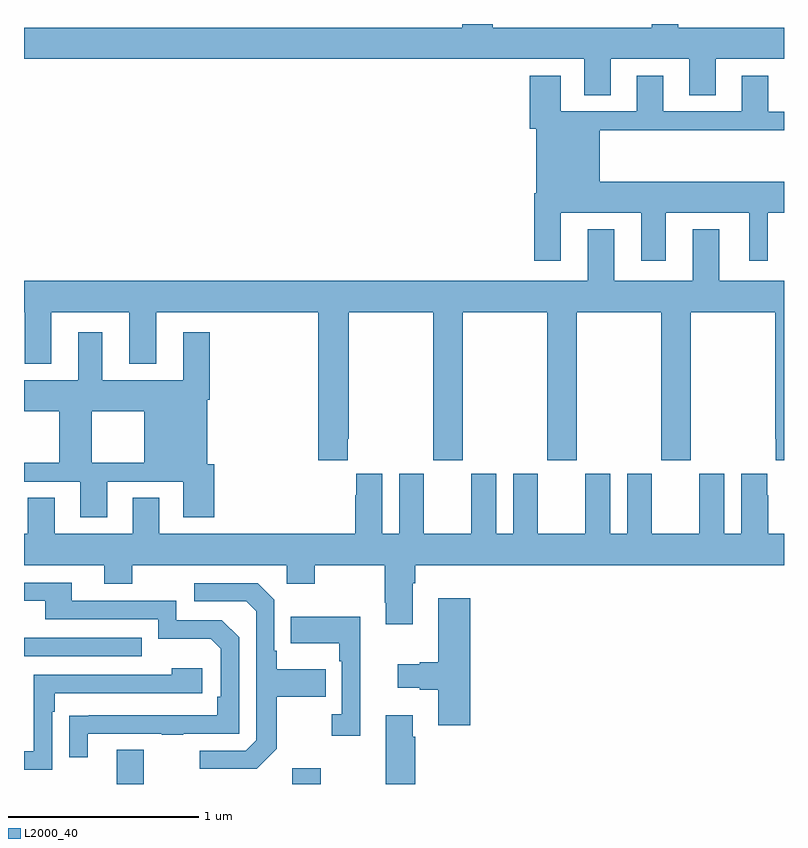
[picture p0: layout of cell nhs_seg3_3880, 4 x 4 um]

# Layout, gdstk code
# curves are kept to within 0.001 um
import gdstk
lib = gdstk.Library(unit=1e-6, precision=1e-09)
def R(c, l, rs):  # rectangles x0, y0, x1, y1
    for r in rs: c.add(gdstk.rectangle(r[:2], r[2:], *l))
def P(c, l, *ps):  # polygons
    for p in ps: c.add(gdstk.Polygon(p, *l))
L2000_40 = (2000, 40)

nhs_seg3_3880 = lib.new_cell('nhs_seg3_3880')
R(nhs_seg3_3880, L2000_40, [(311.489,730.4,311.629,730.579), (312.413,730.4,312.561,730.483), (311,731.073,311.621,731.169)])
P(nhs_seg3_3880, L2000_40, [(314.089,734.216),(314.501,734.216),(314.501,734.026),(314.641,734.026),(314.641,734.216),(315,734.216),(315,734.38),(314.443,734.38),(314.443,734.4),(314.303,734.4),(314.303,734.38),(313.467,734.38),(313.467,734.4),(313.307,734.4),(313.307,734.38),(311,734.38),(311,734.216),(313.949,734.216),(313.949,734.026),(314.089,734.026)],
  [(313.825,733.406),(314.249,733.406),(314.249,733.155),(314.377,733.155),(314.377,733.406),(314.816,733.406),(314.816,733.155),(314.914,733.155),(314.914,733.406),(315,733.406),(315,733.57),(314.029,733.57),(314.029,733.84),(315,733.84),(315,733.938),(314.917,733.938),(314.917,734.128),(314.777,734.128),(314.777,733.941),(314.365,733.941),(314.365,734.128),(314.225,734.128),(314.225,733.941),(313.825,733.941),(313.825,734.128),(313.661,734.128),(313.661,733.848),(313.697,733.848),(313.697,733.51),(313.685,733.51),(313.685,733.155),(313.825,733.155)],
  [(312.703,732.217),(312.708,732.217),(312.708,732.884),(313.153,732.884),(313.153,732.105),(313.308,732.105),(313.308,732.884),(313.753,732.884),(313.753,732.105),(313.908,732.105),(313.908,732.884),(314.353,732.884),(314.353,732.105),(314.508,732.105),(314.508,732.884),(314.953,732.884),(314.953,732.217),(314.957,732.217),(314.957,732.105),(315,732.105),(315,733.048),(314.659,733.048),(314.659,733.321),(314.519,733.321),(314.519,733.048),(314.107,733.048),(314.107,733.321),(313.967,733.321),(313.967,733.048),(311,733.048),(311,732.884),(311.003,732.884),(311.003,732.611),(311.143,732.611),(311.143,732.884),(311.555,732.884),(311.555,732.611),(311.695,732.611),(311.695,732.884),(312.548,732.884),(312.548,732.105),(312.703,732.105)],
  [(311.437,731.991),(311.837,731.991),(311.837,731.805),(312.002,731.805),(312.002,732.084),(311.965,732.084),(311.965,732.422),(311.978,732.422),(311.978,732.778),(311.837,732.778),(311.837,732.526),(311.413,732.526),(311.413,732.778),(311.285,732.778),(311.285,732.526),(311,732.526),(311,732.362),(311.186,732.362),(311.186,732.092),(311.356,732.092),(311.356,732.362),(311.633,732.362),(311.633,732.092),(311.356,732.092),(311.186,732.092),(311,732.092),(311,731.991),(311.297,731.991),(311.297,731.805),(311.437,731.805)],
  [(313.045,731.456),(313.058,731.456),(313.058,731.552),(315,731.552),(315,731.716),(314.918,731.716),(314.918,731.921),(314.911,731.921),(314.911,732.034),(314.774,732.034),(314.774,731.716),(314.686,731.716),(314.686,732.034),(314.555,732.034),(314.555,731.716),(314.305,731.716),(314.305,732.034),(314.174,732.034),(314.174,731.716),(314.086,731.716),(314.086,732.034),(313.955,732.034),(313.955,731.716),(313.705,731.716),(313.705,732.034),(313.574,732.034),(313.574,731.716),(313.486,731.716),(313.486,732.034),(313.355,732.034),(313.355,731.716),(313.105,731.716),(313.105,732.034),(312.974,732.034),(312.974,731.716),(312.886,731.716),(312.886,732.034),(312.749,732.034),(312.749,731.921),(312.743,731.921),(312.743,731.716),(311.713,731.716),(311.713,731.906),(311.573,731.906),(311.573,731.716),(311.161,731.716),(311.161,731.906),(311.021,731.906),(311.021,731.716),(311,731.716),(311,731.552),(311.423,731.552),(311.423,731.453),(311.571,731.453),(311.571,731.552),(312.384,731.552),(312.384,731.453),(312.531,731.453),(312.531,731.552),(312.898,731.552),(312.898,731.353),(312.905,731.353),(312.905,731.241),(313.045,731.241)],
  [(311.335,730.665),(311.725,730.665),(311.725,730.66),(311.837,730.66),(311.837,730.665),(312.132,730.665),(312.132,731.172),(312.042,731.262),(311.802,731.262),(311.802,731.364),(311.251,731.364),(311.251,731.46),(311,731.46),(311,731.364),(311.111,731.364),(311.111,731.268),(311.706,731.268),(311.706,731.165),(311.983,731.165),(312.036,731.112),(312.036,730.858),(312.016,730.858),(312.016,730.761),(311.239,730.76),(311.239,730.542),(311.335,730.542)],
  [(312.331,730.585),(312.331,730.858),(312.587,730.858),(312.587,731.005),(312.331,731.005),(312.331,731.101),(312.318,731.101),(312.318,731.37),(312.231,731.457),(311.895,731.457),(311.895,731.361),(312.171,731.361),(312.222,731.31),(312.222,730.629),(312.168,730.575),(311.925,730.575),(311.925,730.479),(312.225,730.479)],
  [(313.349,731.377),(313.181,731.377),(313.181,731.042),(313.082,731.042),(313.082,731.029),(312.966,731.029),(312.966,730.907),(313.082,730.907),(313.082,730.895),(313.181,730.895),(313.181,730.71),(313.349,730.71)],
  [(312.77,731.281),(312.403,731.281),(312.403,731.141),(312.66,731.141),(312.66,731.045),(312.672,731.045),(312.672,730.766),(312.621,730.766),(312.621,730.653),(312.77,730.653)],
  [(311.148,730.781),(311.161,730.781),(311.161,730.878),(311.938,730.878),(311.938,731.008),(311.777,731.008),(311.777,730.974),(311.052,730.974),(311.052,730.572),(311,730.572),(311,730.476),(311.148,730.476)],
  [(313.058,730.649),(313.045,730.649),(313.045,730.762),(312.905,730.762),(312.905,730.4),(313.058,730.4)])

lib.write_gds('nhs_seg3_3880.gds')
